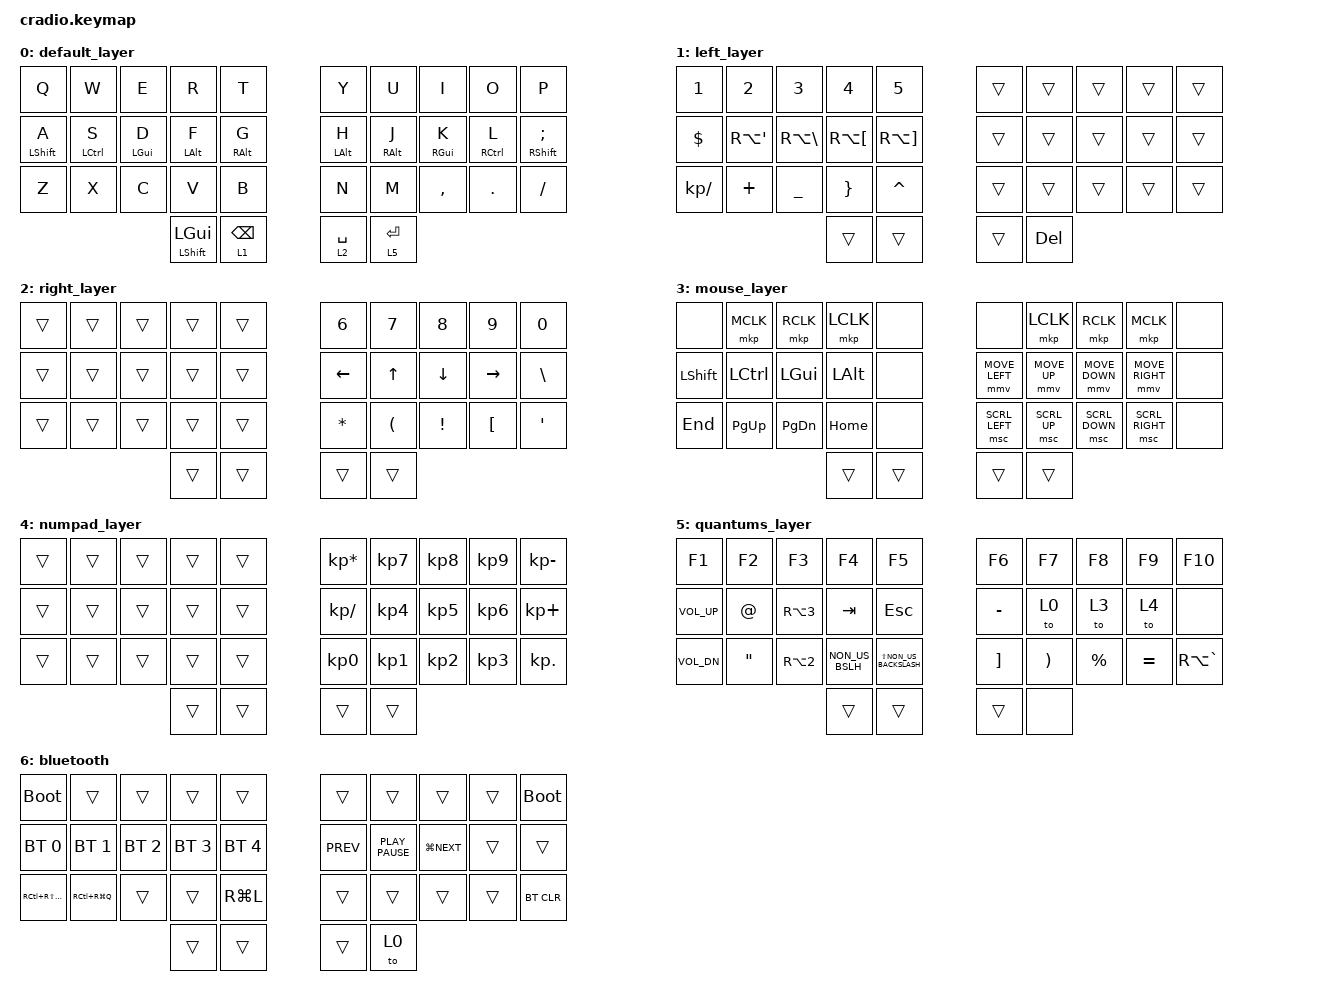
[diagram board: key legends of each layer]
/*
 * Copyright (c) 2022 The ZMK Contributors
 *
 * SPDX-License-Identifier: MIT
 */

#include <behaviors.dtsi>
#include <dt-bindings/zmk/bt.h>
#include <dt-bindings/zmk/keys.h>
#include <dt-bindings/zmk/pointing.h>

&mt {
    flavor = "balanced";
    quick-tap-ms = <200>;
};

&lt {
    quick-tap-ms = <200>;
    flavor = "balanced";
};

&mmv { acceleration-exponent = <2>; };

/ {
    combos {
        compatible = "zmk,combos";

        to-bt {
            bindings = <&sl 6>;
            key-positions = <20 24>;
            layers = <0>;
        };
    };

    keymap {
        compatible = "zmk,keymap";

        default_layer {
            bindings = <
&kp Q        &kp W        &kp E       &kp R           &kp T              &kp Y           &kp U        &kp I       &kp O        &kp P
&mt LSHFT A  &mt LCTRL S  &mt LGUI D  &mt LALT F      &mt RIGHT_ALT G    &mt LEFT_ALT H  &mt RALT J   &mt RGUI K  &mt RCTRL L  &mt RSHIFT SEMI
&kp Z        &kp X        &kp C       &kp V           &kp B              &kp N           &kp M        &kp COMMA   &kp DOT      &kp SLASH
                                      &mt LSHFT LGUI  &lt 1 BSPC         &lt 2 SPACE     &lt 5 ENTER
            >;
        };

        left_layer {
            bindings = <
&kp N1         &kp N2       &kp N3        &kp N4        &kp N5          &trans  &trans   &trans  &trans  &trans
&kp DLLR       &kp RA(SQT)  &kp RA(BSLH)  &kp RA(LBKT)  &kp RA(RBKT)    &trans  &trans   &trans  &trans  &trans
&kp KP_DIVIDE  &kp PLUS     &kp UNDER     &kp RBRC      &kp CARET       &trans  &trans   &trans  &trans  &trans
                                          &trans        &trans          &trans  &kp DEL
            >;
        };

        right_layer {
            bindings = <
&trans  &trans  &trans  &trans  &trans    &kp N6     &kp N7    &kp N8    &kp N9     &kp N0
&trans  &trans  &trans  &trans  &trans    &kp LEFT   &kp UP    &kp DOWN  &kp RIGHT  &kp BSLH
&trans  &trans  &trans  &trans  &trans    &kp ASTRK  &kp LPAR  &kp EXCL  &kp LBKT   &kp SQT
                        &trans  &trans    &trans     &trans
            >;
        };

        mouse_layer {
            bindings = <
&none      &mkp MCLK    &mkp RCLK      &mkp LCLK  &none     &none           &mkp LCLK     &mkp RCLK       &mkp MCLK        &none
&kp LSHFT  &kp LCTRL    &kp LGUI       &kp LALT   &none     &mmv MOVE_LEFT  &mmv MOVE_UP  &mmv MOVE_DOWN  &mmv MOVE_RIGHT  &none
&kp END    &kp PAGE_UP  &kp PAGE_DOWN  &kp HOME   &none     &msc SCRL_LEFT  &msc SCRL_UP  &msc SCRL_DOWN  &msc SCRL_RIGHT  &none
                                       &trans     &trans    &trans          &trans
            >;
        };

        numpad_layer {
            bindings = <
&trans  &trans  &trans  &trans  &trans    &kp KP_ASTERISK  &kp KP_N7  &kp KP_N8  &kp KP_N9  &kp KP_MINUS
&trans  &trans  &trans  &trans  &trans    &kp KP_DIVIDE    &kp KP_N4  &kp KP_N5  &kp KP_N6  &kp KP_PLUS
&trans  &trans  &trans  &trans  &trans    &kp KP_N0        &kp KP_N1  &kp KP_N2  &kp KP_N3  &kp KP_DOT
                        &trans  &trans    &trans           &trans
            >;
        };

        quantums_layer {
            bindings = <
&kp F1        &kp F2   &kp F3      &kp F4           &kp F5                      &kp F6             &kp F7    &kp F8     &kp F9     &kp F10
&kp K_VOL_UP  &kp AT   &kp RA(N3)  &kp TAB          &kp ESC                     &kp MINUS          &to 0     &to 3      &to 4      &none
&kp K_VOL_DN  &kp DQT  &kp RA(N2)  &kp NON_US_BSLH  &kp LS(NON_US_BACKSLASH)    &kp RIGHT_BRACKET  &kp RPAR  &kp PRCNT  &kp EQUAL  &kp RA(GRAVE)
                                   &trans           &trans                      &trans             &none
            >;
        };

        bluetooth {
            bindings = <
&bootloader          &trans         &trans        &trans        &trans          &trans      &trans            &trans          &trans  &bootloader
&bt BT_SEL 0         &bt BT_SEL 1   &bt BT_SEL 2  &bt BT_SEL 3  &bt BT_SEL 4    &kp K_PREV  &kp K_PLAY_PAUSE  &kp LG(K_NEXT)  &trans  &trans
&kp RC(RS(K_EJECT))  &kp RC(RG(Q))  &trans        &trans        &kp RG(L)       &trans      &trans            &trans          &trans  &bt BT_CLR
                                                  &trans        &trans          &trans      &to 0
            >;
        };
    };
};
